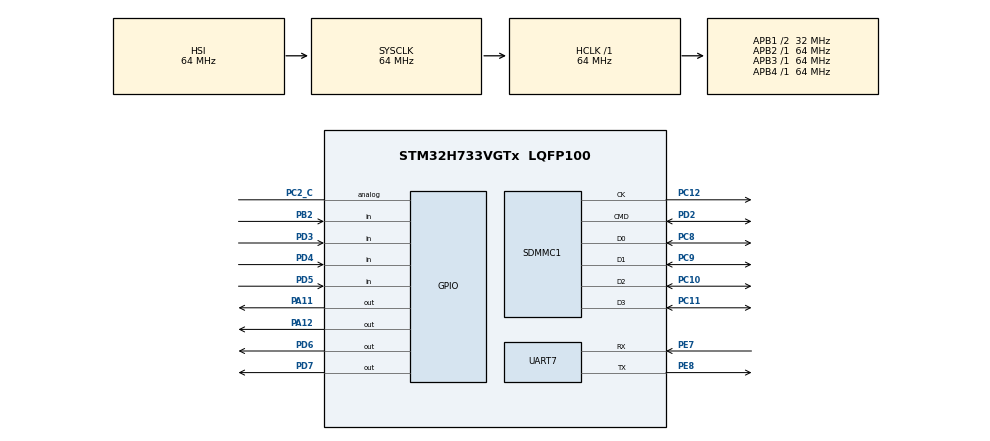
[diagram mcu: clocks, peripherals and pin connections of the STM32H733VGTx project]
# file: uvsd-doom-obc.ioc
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CORTEX_M7.default_mode_Activation=1
Dma.Request0=UART7_RX
Dma.UART7_RX.0.Direction=DMA_PERIPH_TO_MEMORY
Dma.UART7_RX.0.EventEnable=DISABLE
Dma.UART7_RX.0.FIFOMode=DMA_FIFOMODE_DISABLE
Dma.UART7_RX.0.Instance=DMA1_Stream0
Dma.UART7_RX.0.MemDataAlignment=DMA_MDATAALIGN_BYTE
Dma.UART7_RX.0.MemInc=DMA_MINC_ENABLE
Dma.UART7_RX.0.Mode=DMA_CIRCULAR
Dma.UART7_RX.0.PeriphDataAlignment=DMA_PDATAALIGN_BYTE
Dma.UART7_RX.0.PeriphInc=DMA_PINC_DISABLE
Dma.UART7_RX.0.Polarity=HAL_DMAMUX_REQ_GEN_RISING
Dma.UART7_RX.0.Priority=DMA_PRIORITY_HIGH
Dma.UART7_RX.0.RequestNumber=1
Dma.UART7_RX.0.SignalID=NONE
Dma.UART7_RX.0.SyncEnable=DISABLE
Dma.UART7_RX.0.SyncPolarity=HAL_DMAMUX_SYNC_NO_EVENT
Dma.UART7_RX.0.SyncRequestNumber=1
Dma.UART7_RX.0.SyncSignalID=NONE
FREERTOS.Tasks01=defaultTask,24,128,StartDefaultTask,Default,NULL,Dynamic,NULL,NULL;commandHandling,40,512,StartCommandHandlingOBC,Default,NULL,Dynamic,NULL,NULL
Mcu.Family=STM32H7
Mcu.Name=STM32H733VGTx
Mcu.Package=LQFP100
NVIC.DMA1_Stream0_IRQn=true\:5\:0\:false\:false\:true\:true\:false\:true\:true
NVIC.PriorityGroup=NVIC_PRIORITYGROUP_4
NVIC.SDMMC1_IRQn=true\:5\:0\:false\:false\:true\:true\:true\:true\:true
NVIC.TIM6_DAC_IRQn=true\:15\:0\:false\:false\:true\:false\:false\:true\:true
NVIC.TimeBase=TIM6_DAC_IRQn
NVIC.TimeBaseIP=TIM6
NVIC.UART7_IRQn=true\:5\:0\:false\:false\:true\:true\:true\:true\:true
PA11.Signal=GPIO_Output
PA12.Signal=GPIO_Output
PA13(JTMS/SWDIO).Mode=JTAG_5_pins
PA13(JTMS/SWDIO).Signal=DEBUG_JTMS-SWDIO
PA14(JTCK/SWCLK).Mode=JTAG_5_pins
PA14(JTCK/SWCLK).Signal=DEBUG_JTCK-SWCLK
PA15(JTDI).Mode=JTAG_5_pins
PA15(JTDI).Signal=DEBUG_JTDI
PB10.Signal=I2C2_SCL
PB11.Signal=I2C2_SDA
PB12.Signal=SPI2_NSS
PB13.Signal=SPI2_SCK
PB14.Signal=SPI2_MISO
PB15.Signal=SPI2_MOSI
PB2.Signal=GPIO_Input
PB3(JTDO/TRACESWO).Mode=JTAG_5_pins
PB3(JTDO/TRACESWO).Signal=DEBUG_JTDO-SWO
PB4(NJTRST).Mode=JTAG_5_pins
PB4(NJTRST).Signal=DEBUG_JTRST
PC10.Mode=SD_4_bits_Wide_bus
PC10.Signal=SDMMC1_D2
PC11.Mode=SD_4_bits_Wide_bus
PC11.Signal=SDMMC1_D3
PC12.Mode=SD_4_bits_Wide_bus
PC12.Signal=SDMMC1_CK
PC14-OSC32_IN.Mode=LSE-External-Oscillator
PC14-OSC32_IN.Signal=RCC_OSC32_IN
PC15-OSC32_OUT.Mode=LSE-External-Oscillator
PC15-OSC32_OUT.Signal=RCC_OSC32_OUT
PC2_C.Signal=GPIO_Analog
PC8.Mode=SD_4_bits_Wide_bus
PC8.Signal=SDMMC1_D0
PC9.Mode=SD_4_bits_Wide_bus
PC9.Signal=SDMMC1_D1
PD0.Signal=UART4_RX
PD1.Signal=UART4_TX
PD12.Signal=I2C4_SCL
PD13.Signal=I2C4_SDA
PD2.Mode=SD_4_bits_Wide_bus
PD2.Signal=SDMMC1_CMD
PD3.Signal=GPIO_Input
PD4.Signal=GPIO_Input
PD5.Signal=GPIO_Input
PD6.Signal=GPIO_Output
PD7.Signal=GPIO_Output
PE10.Signal=UART7_CTS
PE11.Signal=SPI4_NSS
PE12.Signal=SPI4_SCK
PE13.Signal=SPI4_MISO
PE14.Signal=SPI4_MOSI
PE7.Mode=Asynchronous
PE7.Signal=UART7_RX
PE8.Mode=Asynchronous
PE8.Signal=UART7_TX
PH0-OSC_IN.Mode=HSE-External-Oscillator
PH0-OSC_IN.Signal=RCC_OSC_IN
PH1-OSC_OUT.Mode=HSE-External-Oscillator
PH1-OSC_OUT.Signal=RCC_OSC_OUT
ProjectManager.HeapSize=0x200
ProjectManager.StackSize=0x400
ProjectManager.TargetToolchain=STM32CubeIDE
RCC.ADCFreq_Value=129000000
RCC.APB1Freq_Value=32000000
RCC.APB2Freq_Value=64000000
RCC.APB3Freq_Value=64000000
RCC.APB4Freq_Value=64000000
RCC.CortexFreq_Value=64000000
RCC.D2PPRE1=RCC_APB1_DIV2
RCC.DIVQ1=5
RCC.HCLKFreq_Value=64000000
RCC.SYSCLKFreq_VALUE=64000000
RCC.USBFreq_Value=51600000
VP_FATFS_VS_Generic.Mode=User_defined
VP_FATFS_VS_SDIO.Mode=SDIO
VP_FREERTOS_VS_CMSIS_V2.Mode=CMSIS_V2
VP_MEMORYMAP_VS_MEMORYMAP.Mode=CurAppReg
VP_SYS_VS_tim6.Mode=TIM6
board=custom

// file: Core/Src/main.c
/* USER CODE BEGIN Header */
/**
  ******************************************************************************
  * @file           : main.c
  * @brief          : Main program body
  ******************************************************************************
  * @attention
  *
  * Copyright (c) 2026 STMicroelectronics.
  * All rights reserved.
  *
  * This software is licensed under terms that can be found in the LICENSE file
  * in the root directory of this software component.
  * If no LICENSE file comes with this software, it is provided AS-IS.
  *
  ******************************************************************************
  */
/* USER CODE END Header */
#include "main.h"
#include "cmsis_os.h"
#include "fatfs.h"

/* USER CODE BEGIN Includes */
#include "command_handler.h"
/* USER CODE END Includes */

SD_HandleTypeDef hsd1;

UART_HandleTypeDef huart7;
DMA_HandleTypeDef hdma_uart7_rx;

/* Definitions for defaultTask */
osThreadId_t defaultTaskHandle;
const osThreadAttr_t defaultTask_attributes = {
  .name = "defaultTask",
  .stack_size = 128 * 4,
  .priority = (osPriority_t) osPriorityNormal,
};
/* Definitions for commandHandling */
osThreadId_t commandHandlingHandle;
const osThreadAttr_t commandHandling_attributes = {
  .name = "commandHandling",
  .stack_size = 512 * 4,
  .priority = (osPriority_t) osPriorityHigh,
};

void SystemClock_Config(void);
static void MPU_Config(void);
static void MX_GPIO_Init(void);
static void MX_DMA_Init(void);
static void MX_SDMMC1_SD_Init(void);
static void MX_UART7_Init(void);
void StartDefaultTask(void *argument);
void StartCommandHandlingOBC(void *argument);

int main(void)
{

  /* MPU Configuration--------------------------------------------------------*/
  MPU_Config();

  /* MCU Configuration--------------------------------------------------------*/

  /* Reset of all peripherals, Initializes the Flash interface and the Systick. */
  HAL_Init();

  /* Configure the system clock */
  SystemClock_Config();

  /* Initialize all configured peripherals */
  MX_GPIO_Init();
  MX_DMA_Init();
  MX_FATFS_Init();
  MX_SDMMC1_SD_Init();
  MX_UART7_Init();

  /* Init scheduler */
  osKernelInitialize();

  /* Create the thread(s) */
  /* creation of defaultTask */
  defaultTaskHandle = osThreadNew(StartDefaultTask, NULL, &defaultTask_attributes);

  /* creation of commandHandling */
  commandHandlingHandle = osThreadNew(StartCommandHandlingOBC, NULL, &commandHandling_attributes);

  /* USER CODE BEGIN RTOS_THREADS */
  xTaskCreate(handle_telemetry,
          "Handle Telemetry",
          configMINIMAL_STACK_SIZE,
          NULL,
          tskIDLE_PRIORITY,
          NULL);
  /* USER CODE END RTOS_THREADS */

  /* Start scheduler */
  osKernelStart();

  /* We should never get here as control is now taken by the scheduler */

  /* Infinite loop */
  while (1)
  {

  }
}

void SystemClock_Config(void)
{
  RCC_OscInitTypeDef RCC_OscInitStruct = {0};
  RCC_ClkInitTypeDef RCC_ClkInitStruct = {0};

  /** Supply configuration update enable
  */
  HAL_PWREx_ConfigSupply(PWR_LDO_SUPPLY);

  /** Configure the main internal regulator output voltage
  */
  __HAL_PWR_VOLTAGESCALING_CONFIG(PWR_REGULATOR_VOLTAGE_SCALE3);

  while(!__HAL_PWR_GET_FLAG(PWR_FLAG_VOSRDY)) {}

  /** Initializes the RCC Oscillators according to the specified parameters
  * in the RCC_OscInitTypeDef structure.
  */
  RCC_OscInitStruct.OscillatorType = RCC_OSCILLATORTYPE_HSI;
  RCC_OscInitStruct.HSIState = RCC_HSI_DIV1;
  RCC_OscInitStruct.HSICalibrationValue = 64;
  RCC_OscInitStruct.PLL.PLLState = RCC_PLL_ON;
  RCC_OscInitStruct.PLL.PLLSource = RCC_PLLSOURCE_HSI;
  RCC_OscInitStruct.PLL.PLLM = 32;
  RCC_OscInitStruct.PLL.PLLN = 129;
  RCC_OscInitStruct.PLL.PLLP = 2;
  RCC_OscInitStruct.PLL.PLLQ = 5;
  RCC_OscInitStruct.PLL.PLLR = 2;
  RCC_OscInitStruct.PLL.PLLRGE = RCC_PLL1VCIRANGE_1;
  RCC_OscInitStruct.PLL.PLLVCOSEL = RCC_PLL1VCOWIDE;
  RCC_OscInitStruct.PLL.PLLFRACN = 0;
  if (HAL_RCC_OscConfig(&RCC_OscInitStruct) != HAL_OK)
  {
    Error_Handler();
  }

  /** Initializes the CPU, AHB and APB buses clocks
  */
  RCC_ClkInitStruct.ClockType = RCC_CLOCKTYPE_HCLK|RCC_CLOCKTYPE_SYSCLK
                              |RCC_CLOCKTYPE_PCLK1|RCC_CLOCKTYPE_PCLK2
                              |RCC_CLOCKTYPE_D3PCLK1|RCC_CLOCKTYPE_D1PCLK1;
  RCC_ClkInitStruct.SYSCLKSource = RCC_SYSCLKSOURCE_HSI;
  RCC_ClkInitStruct.SYSCLKDivider = RCC_SYSCLK_DIV1;
  RCC_ClkInitStruct.AHBCLKDivider = RCC_HCLK_DIV1;
  RCC_ClkInitStruct.APB3CLKDivider = RCC_APB3_DIV1;
  RCC_ClkInitStruct.APB1CLKDivider = RCC_APB1_DIV2;
  RCC_ClkInitStruct.APB2CLKDivider = RCC_APB2_DIV1;
  RCC_ClkInitStruct.APB4CLKDivider = RCC_APB4_DIV1;

  if (HAL_RCC_ClockConfig(&RCC_ClkInitStruct, FLASH_LATENCY_1) != HAL_OK)
  {
    Error_Handler();
  }
}

static void MX_SDMMC1_SD_Init(void)
{

  hsd1.Instance = SDMMC1;
  hsd1.Init.ClockEdge = SDMMC_CLOCK_EDGE_RISING;
  hsd1.Init.ClockPowerSave = SDMMC_CLOCK_POWER_SAVE_DISABLE;
  hsd1.Init.BusWide = SDMMC_BUS_WIDE_4B;
  hsd1.Init.HardwareFlowControl = SDMMC_HARDWARE_FLOW_CONTROL_DISABLE;
  hsd1.Init.ClockDiv = 0;
  if (HAL_SD_Init(&hsd1) != HAL_OK)
  {
    Error_Handler();
  }

}

static void MX_UART7_Init(void)
{

  huart7.Instance = UART7;
  huart7.Init.BaudRate = 115200;
  huart7.Init.WordLength = UART_WORDLENGTH_8B;
  huart7.Init.StopBits = UART_STOPBITS_1;
  huart7.Init.Parity = UART_PARITY_NONE;
  huart7.Init.Mode = UART_MODE_TX_RX;
  huart7.Init.HwFlowCtl = UART_HWCONTROL_NONE;
  huart7.Init.OverSampling = UART_OVERSAMPLING_16;
  huart7.Init.OneBitSampling = UART_ONE_BIT_SAMPLE_DISABLE;
  huart7.Init.ClockPrescaler = UART_PRESCALER_DIV1;
  huart7.AdvancedInit.AdvFeatureInit = UART_ADVFEATURE_NO_INIT;
  if (HAL_UART_Init(&huart7) != HAL_OK)
  {
    Error_Handler();
  }
  if (HAL_UARTEx_SetTxFifoThreshold(&huart7, UART_TXFIFO_THRESHOLD_1_8) != HAL_OK)
  {
    Error_Handler();
  }
  if (HAL_UARTEx_SetRxFifoThreshold(&huart7, UART_RXFIFO_THRESHOLD_1_8) != HAL_OK)
  {
    Error_Handler();
  }
  if (HAL_UARTEx_DisableFifoMode(&huart7) != HAL_OK)
  {
    Error_Handler();
  }

}

static void MX_DMA_Init(void)
{

  /* DMA controller clock enable */
  __HAL_RCC_DMA1_CLK_ENABLE();

  /* DMA interrupt init */
  /* DMA1_Stream0_IRQn interrupt configuration */
  HAL_NVIC_SetPriority(DMA1_Stream0_IRQn, 5, 0);
  HAL_NVIC_EnableIRQ(DMA1_Stream0_IRQn);

}

static void MX_GPIO_Init(void)
{
  GPIO_InitTypeDef GPIO_InitStruct = {0};

  /* GPIO Ports Clock Enable */
  __HAL_RCC_GPIOC_CLK_ENABLE();
  __HAL_RCC_GPIOH_CLK_ENABLE();
  __HAL_RCC_GPIOB_CLK_ENABLE();
  __HAL_RCC_GPIOE_CLK_ENABLE();
  __HAL_RCC_GPIOD_CLK_ENABLE();
  __HAL_RCC_GPIOA_CLK_ENABLE();

  /*Configure GPIO pin Output Level */
  HAL_GPIO_WritePin(GPIOA, GPIO_PIN_11|GPIO_PIN_12, GPIO_PIN_RESET);

  /*Configure GPIO pin Output Level */
  HAL_GPIO_WritePin(GPIOD, GPIO_PIN_6|GPIO_PIN_7, GPIO_PIN_RESET);

  /*Configure GPIO pin : PC2 */
  GPIO_InitStruct.Pin = GPIO_PIN_2;
  GPIO_InitStruct.Mode = GPIO_MODE_ANALOG;
  GPIO_InitStruct.Pull = GPIO_NOPULL;
  HAL_GPIO_Init(GPIOC, &GPIO_InitStruct);

  /*Configure GPIO pin : PB2 */
  GPIO_InitStruct.Pin = GPIO_PIN_2;
  GPIO_InitStruct.Mode = GPIO_MODE_INPUT;
  GPIO_InitStruct.Pull = GPIO_NOPULL;
  HAL_GPIO_Init(GPIOB, &GPIO_InitStruct);

  /*Configure GPIO pins : PE11 PE12 PE13 PE14 */
  GPIO_InitStruct.Pin = GPIO_PIN_11|GPIO_PIN_12|GPIO_PIN_13|GPIO_PIN_14;
  GPIO_InitStruct.Mode = GPIO_MODE_AF_PP;
  GPIO_InitStruct.Pull = GPIO_NOPULL;
  GPIO_InitStruct.Speed = GPIO_SPEED_FREQ_LOW;
  GPIO_InitStruct.Alternate = GPIO_AF5_SPI4;
  HAL_GPIO_Init(GPIOE, &GPIO_InitStruct);

  /*Configure GPIO pins : PB10 PB11 */
  GPIO_InitStruct.Pin = GPIO_PIN_10|GPIO_PIN_11;
  GPIO_InitStruct.Mode = GPIO_MODE_AF_OD;
  GPIO_InitStruct.Pull = GPIO_NOPULL;
  GPIO_InitStruct.Speed = GPIO_SPEED_FREQ_LOW;
  GPIO_InitStruct.Alternate = GPIO_AF4_I2C2;
  HAL_GPIO_Init(GPIOB, &GPIO_InitStruct);

  /*Configure GPIO pins : PB12 PB13 PB14 PB15 */
  GPIO_InitStruct.Pin = GPIO_PIN_12|GPIO_PIN_13|GPIO_PIN_14|GPIO_PIN_15;
  GPIO_InitStruct.Mode = GPIO_MODE_AF_PP;
  GPIO_InitStruct.Pull = GPIO_NOPULL;
  GPIO_InitStruct.Speed = GPIO_SPEED_FREQ_LOW;
  GPIO_InitStruct.Alternate = GPIO_AF5_SPI2;
  HAL_GPIO_Init(GPIOB, &GPIO_InitStruct);

  /*Configure GPIO pins : PD12 PD13 */
  GPIO_InitStruct.Pin = GPIO_PIN_12|GPIO_PIN_13;
  GPIO_InitStruct.Mode = GPIO_MODE_AF_OD;
  GPIO_InitStruct.Pull = GPIO_NOPULL;
  GPIO_InitStruct.Speed = GPIO_SPEED_FREQ_LOW;
  GPIO_InitStruct.Alternate = GPIO_AF4_I2C4;
  HAL_GPIO_Init(GPIOD, &GPIO_InitStruct);

  /*Configure GPIO pins : PA11 PA12 */
  GPIO_InitStruct.Pin = GPIO_PIN_11|GPIO_PIN_12;
  GPIO_InitStruct.Mode = GPIO_MODE_OUTPUT_PP;
  GPIO_InitStruct.Pull = GPIO_NOPULL;
  GPIO_InitStruct.Speed = GPIO_SPEED_FREQ_LOW;
  HAL_GPIO_Init(GPIOA, &GPIO_InitStruct);

  /*Configure GPIO pins : PD0 PD1 */
  GPIO_InitStruct.Pin = GPIO_PIN_0|GPIO_PIN_1;
  GPIO_InitStruct.Mode = GPIO_MODE_AF_PP;
  GPIO_InitStruct.Pull = GPIO_NOPULL;
  GPIO_InitStruct.Speed = GPIO_SPEED_FREQ_LOW;
  GPIO_InitStruct.Alternate = GPIO_AF8_UART4;
  HAL_GPIO_Init(GPIOD, &GPIO_InitStruct);

  /*Configure GPIO pins : PD3 PD4 PD5 */
  GPIO_InitStruct.Pin = GPIO_PIN_3|GPIO_PIN_4|GPIO_PIN_5;
  GPIO_InitStruct.Mode = GPIO_MODE_INPUT;
  GPIO_InitStruct.Pull = GPIO_NOPULL;
  HAL_GPIO_Init(GPIOD, &GPIO_InitStruct);

  /*Configure GPIO pins : PD6 PD7 */
  GPIO_InitStruct.Pin = GPIO_PIN_6|GPIO_PIN_7;
  GPIO_InitStruct.Mode = GPIO_MODE_OUTPUT_PP;
  GPIO_InitStruct.Pull = GPIO_NOPULL;
  GPIO_InitStruct.Speed = GPIO_SPEED_FREQ_LOW;
  HAL_GPIO_Init(GPIOD, &GPIO_InitStruct);

}

void StartDefaultTask(void *argument)
{
  for(;;)
  {
    osDelay(1);
  }
}

void StartCommandHandlingOBC(void *argument)
{
  /* USER CODE BEGIN StartCommandHandlingOBC */
	begin_command_handling(&huart7);
  /* Infinite loop */
  for(;;)
  {
	  command_handle();
  }
  /* USER CODE END StartCommandHandlingOBC */
}

 /* MPU Configuration */

void MPU_Config(void)
{
  MPU_Region_InitTypeDef MPU_InitStruct = {0};

  /* Disables the MPU */
  HAL_MPU_Disable();

  /** Initializes and configures the Region and the memory to be protected
  */
  MPU_InitStruct.Enable = MPU_REGION_ENABLE;
  MPU_InitStruct.Number = MPU_REGION_NUMBER0;
  MPU_InitStruct.BaseAddress = 0x0;
  MPU_InitStruct.Size = MPU_REGION_SIZE_4GB;
  MPU_InitStruct.SubRegionDisable = 0x87;
  MPU_InitStruct.TypeExtField = MPU_TEX_LEVEL0;
  MPU_InitStruct.AccessPermission = MPU_REGION_NO_ACCESS;
  MPU_InitStruct.DisableExec = MPU_INSTRUCTION_ACCESS_DISABLE;
  MPU_InitStruct.IsShareable = MPU_ACCESS_SHAREABLE;
  MPU_InitStruct.IsCacheable = MPU_ACCESS_NOT_CACHEABLE;
  MPU_InitStruct.IsBufferable = MPU_ACCESS_NOT_BUFFERABLE;

  HAL_MPU_ConfigRegion(&MPU_InitStruct);
  /* Enables the MPU */
  HAL_MPU_Enable(MPU_PRIVILEGED_DEFAULT);

}

void HAL_TIM_PeriodElapsedCallback(TIM_HandleTypeDef *htim)
{
  if (htim->Instance == TIM6)
  {
    HAL_IncTick();
  }
}

void Error_Handler(void)
{
  __disable_irq();
  while (1)
  {
  }
}

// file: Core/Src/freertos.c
/* USER CODE BEGIN Header */
/**
  ******************************************************************************
  * @file          : freertos.c
  * @brief        : Code for freertos applications
  ******************************************************************************
  * @attention
  *
  * Copyright (c) 2026 STMicroelectronics.
  * All rights reserved.
  *
  * This software is licensed under terms that can be found in the LICENSE file
  * in the root directory of this software component.
  * If no LICENSE file comes with this software, it is provided AS-IS.
  *
  ******************************************************************************
  */
/* USER CODE END Header */

#include "FreeRTOS.h"
#include "task.h"
#include "main.h"

#include "semphr.h"
#include "telemetry_sensors.h"
#include "command.h"

/* USER CODE BEGIN PD */

// Burnwire thresholds
#define ALTITUDE_LIMIT 1000.0f
#define TIME_LIMIT 1000

/* USER CODE END PD */

/* USER CODE BEGIN Variables */

SemaphoreHandle_t sdMutex = NULL;

/* USER CODE END Variables */

/* USER CODE BEGIN Application */

int task_communication_center(void)
{
  // Initialize the SD card mutex
  sdMutex = xSemaphoreCreateMutex();

  for(;;){

    int is_burnwire_activated = check_burnwire_activation();

    if(is_burnwire_activated == 1){
      // Empty until we get the burnwire and notify GS and telemetry

      send_burnwire_event();
    }

    osDelay(100);
  }
}

// send command to the burnwire to activate
int check_burnwire_activation()
{
  // Read current altitude from telemetry sensors
  float altitude = read_altimeter();
  int time_elapsed = 0;
  int manual_request = receive_burnwire_command();

  // Altitude activation (1000 is placeholder)
  if(altitude >= ALTITUDE_LIMIT){
    return 1;
  }

  // Time activation placeholder
  if(time_elapsed >= TIME_LIMIT){
    return 1;
  }

  // Manual activation from ground station placeholder
  if(manual_request == 1){
    return 1;
  }

  // No activation
  return 0;
}

// receive burnwire command from command
int receive_burnwire_command()
{

  // Haven't received GS command
  return 0;
}

// notifies the ground station and telemetry
int send_burnwire_event()
{

  return 0;
}

// send telemetry data to the ground station
int send_telemetry_data()
{

  return 0;
}

// receive telemetry data from the telemetry sensors
int receive_telemetry_data()
{

  return 0;
}

// Should use a mutex to lock the SD card so different tasks don't try to access it at the same time.
int lock_sd_card(void)
{
  // Mutex is not initalized yet
  if(sdMutex == NULL){
    return 0;
  }

  // Waits forever until the SD card is available
  if(xSemaphoreTake(sdMutex, portMAX_DELAY) == pdTRUE){
    return 1;
  }

  // Mutex is in use at the moment
  return 0;
}

void unlock_sd_card(void)
{
  // Unlock the SD card for other tasks to use
  if(sdMutex != NULL){
      xSemaphoreGive(sdMutex);
  }
}

/* USER CODE END Application */
